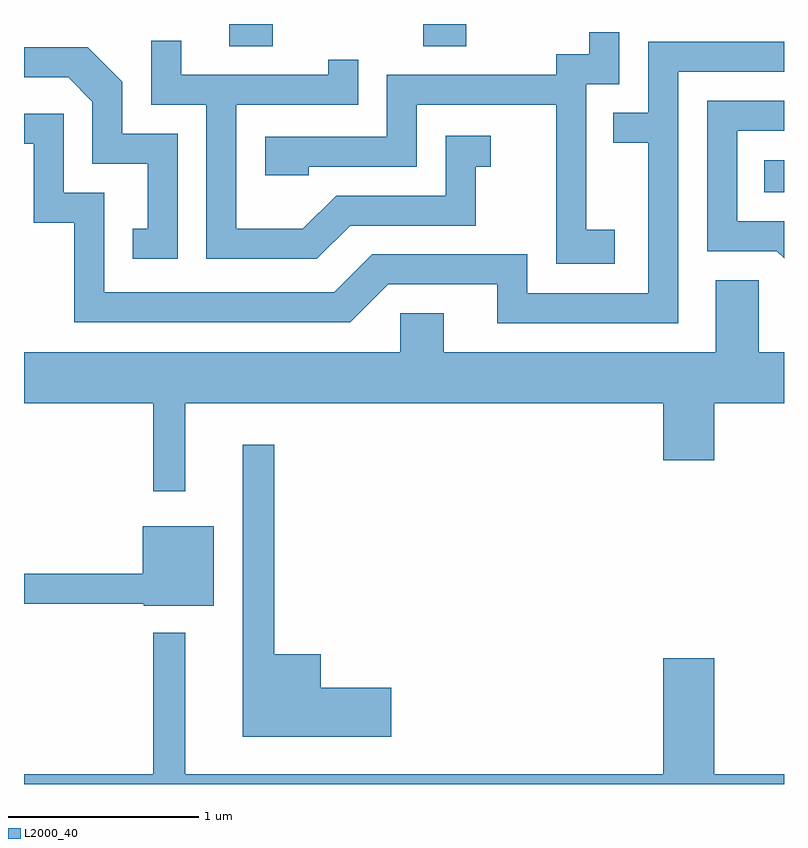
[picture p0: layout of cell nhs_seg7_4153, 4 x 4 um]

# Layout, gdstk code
import gdstk
lib = gdstk.Library(unit=1e-6, precision=1e-09)
def R(c, l, rs):  # rectangles x0, y0, x1, y1
    for r in rs: c.add(gdstk.rectangle(r[:2], r[2:], *l))
def P(c, l, *ps):  # polygons
    for p in ps: c.add(gdstk.Polygon(p, *l))
L2000_40 = (2000, 40)

nhs_seg7_4153 = lib.new_cell('nhs_seg7_4153')
R(nhs_seg7_4153, L2000_40, [(315.508,1775.366,315.611,1775.534), (312.691,1776.136,312.919,1776.252), (313.711,1776.136,313.939,1776.252)])
P(nhs_seg7_4153, L2000_40, [(314.719,1775.169),(314.569,1775.169),(314.569,1775.936),(314.744,1775.936),(314.744,1776.208),(314.586,1776.208),(314.586,1776.094),(314.411,1776.094),(314.411,1775.984),(313.521,1775.984),(313.521,1775.659),(312.881,1775.659),(312.881,1775.456),(313.109,1775.456),(313.109,1775.501),(313.679,1775.501),(313.679,1775.826),(314.411,1775.826),(314.411,1774.991),(314.719,1774.991)],
  [(313.327,1775.191),(313.989,1775.191),(313.989,1775.501),(314.068,1775.501),(314.068,1775.664),(313.831,1775.664),(313.831,1775.349),(313.254,1775.349),(313.079,1775.174),(312.729,1775.174),(312.729,1775.826),(313.369,1775.826),(313.369,1776.063),(313.211,1776.063),(313.211,1775.984),(312.439,1775.984),(312.439,1776.163),(312.281,1776.163),(312.281,1775.826),(312.571,1775.826),(312.571,1775.016),(313.152,1775.016)],
  [(315.054,1776.001),(315.611,1776.001),(315.611,1776.159),(314.896,1776.159),(314.896,1775.784),(314.713,1775.784),(314.713,1775.626),(314.896,1775.626),(314.896,1774.834),(314.259,1774.834),(314.259,1775.039),(313.444,1775.039),(313.244,1774.839),(312.034,1774.839),(312.034,1775.364),(311.819,1775.364),(311.819,1775.779),(311.611,1775.779),(311.611,1775.621),(311.661,1775.621),(311.661,1775.206),(311.876,1775.206),(311.876,1774.681),(313.327,1774.681),(313.527,1774.881),(314.101,1774.881),(314.101,1774.676),(315.054,1774.676)],
  [(312.419,1775.674),(312.129,1775.674),(312.129,1775.947),(311.947,1776.129),(311.611,1776.129),(311.611,1775.971),(311.844,1775.971),(311.971,1775.844),(311.971,1775.516),(312.261,1775.516),(312.261,1775.174),(312.183,1775.174),(312.183,1775.016),(312.419,1775.016)],
  [(315.611,1775.214),(315.364,1775.214),(315.364,1775.691),(315.611,1775.691),(315.611,1775.849),(315.206,1775.849),(315.206,1775.056),(315.574,1775.056),(315.611,1775.019)],
  [(312.459,1774.256),(314.976,1774.256),(314.976,1773.956),(315.244,1773.956),(315.244,1774.256),(315.611,1774.256),(315.611,1774.524),(315.479,1774.524),(315.479,1774.904),(315.251,1774.904),(315.251,1774.524),(313.819,1774.524),(313.819,1774.729),(313.591,1774.729),(313.591,1774.524),(311.611,1774.524),(311.611,1774.256),(312.291,1774.256),(312.291,1773.793),(312.459,1773.793)],
  [(313.544,1772.759),(313.174,1772.759),(313.174,1772.934),(312.929,1772.934),(312.929,1774.038),(312.761,1774.038),(312.761,1772.501),(313.544,1772.501)],
  [(312.609,1773.609),(312.236,1773.609),(312.236,1773.359),(311.611,1773.359),(311.611,1773.201),(312.24,1773.201),(312.24,1773.191),(312.609,1773.191)],
  [(315.611,1772.304),(315.244,1772.304),(315.244,1772.914),(314.976,1772.914),(314.976,1772.304),(312.459,1772.304),(312.459,1773.048),(312.291,1773.048),(312.291,1772.304),(311.611,1772.304),(311.611,1772.252),(315.611,1772.252)])

lib.write_gds('nhs_seg7_4153.gds')
